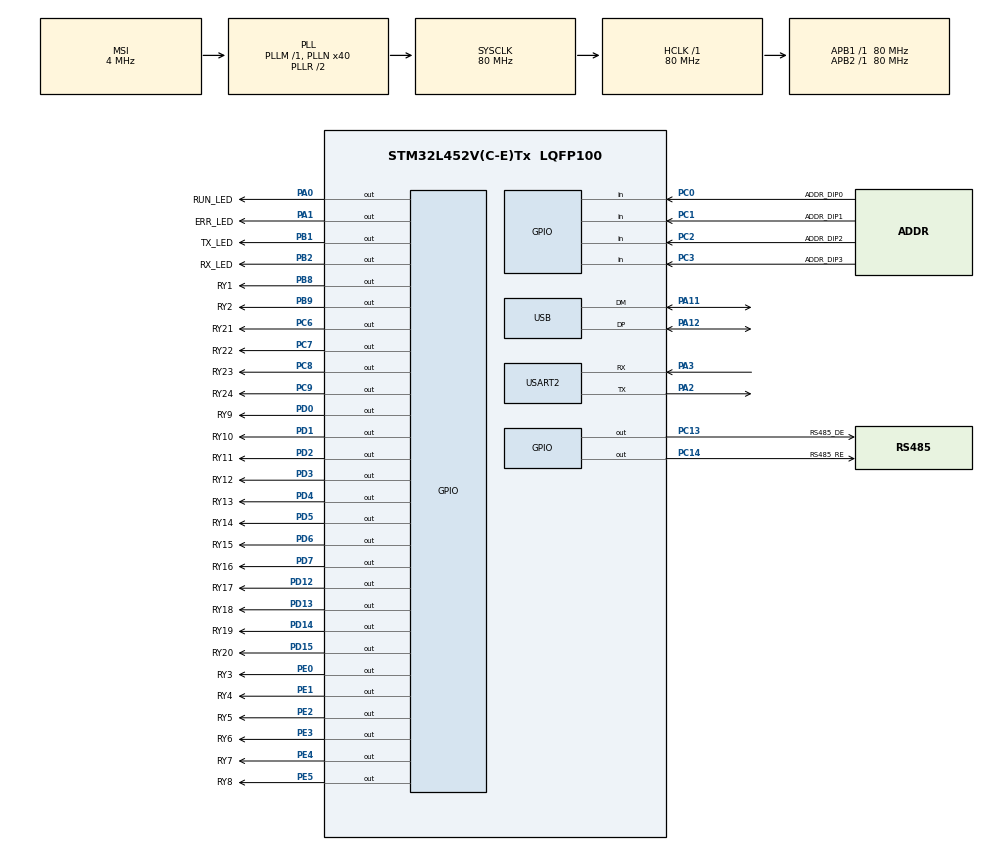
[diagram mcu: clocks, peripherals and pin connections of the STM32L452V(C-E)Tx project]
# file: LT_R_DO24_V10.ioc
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IWDG.Prescaler=IWDG_PRESCALER_32
Mcu.Family=STM32L4
Mcu.Name=STM32L452V(C-E)Tx
Mcu.Package=LQFP100
NVIC.PriorityGroup=NVIC_PRIORITYGROUP_4
NVIC.TIM1_CC_IRQn=true\:0\:0\:false\:false\:true\:true\:true\:true
NVIC.TIM2_IRQn=true\:0\:0\:false\:false\:true\:true\:true\:true
NVIC.TIM3_IRQn=true\:0\:0\:false\:false\:true\:true\:true\:true
NVIC.USART2_IRQn=true\:0\:0\:false\:false\:true\:true\:true\:true
NVIC.USB_IRQn=true\:0\:0\:false\:false\:true\:false\:true\:true
PA0.GPIO_Label=RUN_LED
PA0.Signal=GPIO_Output
PA1.GPIO_Label=ERR_LED
PA1.Signal=GPIO_Output
PA11.Mode=Device
PA11.Signal=USB_DM
PA12.Mode=Device
PA12.Signal=USB_DP
PA13\ (JTMS/SWDIO).Mode=Serial_Wire
PA13\ (JTMS/SWDIO).Signal=SYS_JTMS-SWDIO
PA14\ (JTCK/SWCLK).Mode=Serial_Wire
PA14\ (JTCK/SWCLK).Signal=SYS_JTCK-SWCLK
PA2.Mode=Asynchronous
PA2.Signal=USART2_TX
PA3.Mode=Asynchronous
PA3.Signal=USART2_RX
PB1.GPIO_Label=TX_LED
PB1.Signal=GPIO_Output
PB2.GPIO_Label=RX_LED
PB2.Signal=GPIO_Output
PB8.GPIO_Label=RY1
PB8.Signal=GPIO_Output
PB9.GPIO_Label=RY2
PB9.Signal=GPIO_Output
PC0.GPIO_Label=ADDR_DIP0
PC0.GPIO_PuPd=GPIO_PULLUP
PC0.Signal=GPIO_Input
PC1.GPIO_Label=ADDR_DIP1
PC1.GPIO_PuPd=GPIO_PULLUP
PC1.Signal=GPIO_Input
PC13.GPIO_Label=RS485_DE
PC13.Signal=GPIO_Output
PC14-OSC32_IN\ (PC14).GPIO_Label=RS485_RE
PC14-OSC32_IN\ (PC14).Signal=GPIO_Output
PC2.GPIO_Label=ADDR_DIP2
PC2.GPIO_PuPd=GPIO_PULLUP
PC2.Signal=GPIO_Input
PC3.GPIO_Label=ADDR_DIP3
PC3.GPIO_PuPd=GPIO_PULLUP
PC3.Signal=GPIO_Input
PC6.GPIO_Label=RY21
PC6.Signal=GPIO_Output
PC7.GPIO_Label=RY22
PC7.Signal=GPIO_Output
PC8.GPIO_Label=RY23
PC8.Signal=GPIO_Output
PC9.GPIO_Label=RY24
PC9.Signal=GPIO_Output
PD0.GPIO_Label=RY9
PD0.Signal=GPIO_Output
PD1.GPIO_Label=RY10
PD1.Signal=GPIO_Output
PD12.GPIO_Label=RY17
PD12.Signal=GPIO_Output
PD13.GPIO_Label=RY18
PD13.Signal=GPIO_Output
PD14.GPIO_Label=RY19
PD14.Signal=GPIO_Output
PD15.GPIO_Label=RY20
PD15.Signal=GPIO_Output
PD2.GPIO_Label=RY11
PD2.Signal=GPIO_Output
PD3.GPIO_Label=RY12
PD3.Signal=GPIO_Output
PD4.GPIO_Label=RY13
PD4.Signal=GPIO_Output
PD5.GPIO_Label=RY14
PD5.Signal=GPIO_Output
PD6.GPIO_Label=RY15
PD6.Signal=GPIO_Output
PD7.GPIO_Label=RY16
PD7.Signal=GPIO_Output
PE0.GPIO_Label=RY3
PE0.Signal=GPIO_Output
PE1.GPIO_Label=RY4
PE1.Signal=GPIO_Output
PE2.GPIO_Label=RY5
PE2.Signal=GPIO_Output
PE3.GPIO_Label=RY6
PE3.Signal=GPIO_Output
PE4.GPIO_Label=RY7
PE4.Signal=GPIO_Output
PE5.GPIO_Label=RY8
PE5.Signal=GPIO_Output
ProjectManager.HeapSize=0x200
ProjectManager.StackSize=0x400
ProjectManager.TargetToolchain=STM32CubeIDE
RCC.ADCFreq_Value=48000000
RCC.AHBFreq_Value=80000000
RCC.APB1Freq_Value=80000000
RCC.APB1TimFreq_Value=80000000
RCC.APB2Freq_Value=80000000
RCC.APB2TimFreq_Value=80000000
RCC.CortexFreq_Value=80000000
RCC.HCLKFreq_Value=80000000
RCC.HSE_VALUE=8000000
RCC.HSI48_VALUE=48000000
RCC.HSI_VALUE=16000000
RCC.LSE_VALUE=32768
RCC.MSI_VALUE=4000000
RCC.PLLN=40
RCC.PLLSAI1N=24
RCC.SYSCLKFreq_VALUE=80000000
RCC.SYSCLKSource=RCC_SYSCLKSOURCE_PLLCLK
RCC.USBFreq_Value=48000000
RCC.VCOOutputFreq_Value=160000000
TIM1.Channel-Output\ Compare1\ No\ Output=TIM_CHANNEL_1
TIM1.Period=10000
TIM1.Prescaler=8000
TIM2.Channel-Output\ Compare1\ No\ Output=TIM_CHANNEL_1
TIM2.Period=10000
TIM2.Prescaler=8000
TIM3.Channel-Output\ Compare1\ No\ Output=TIM_CHANNEL_1
TIM3.Period=10000
TIM3.Prescaler=800
USART2.VirtualMode-Asynchronous=VM_ASYNC
USB_DEVICE.CLASS_NAME_FS=CDC
USB_DEVICE.VirtualMode=Cdc
USB_DEVICE.VirtualModeFS=Cdc_FS
VP_IWDG_VS_IWDG.Mode=IWDG_Activate
VP_TIM1_VS_ClockSourceINT.Mode=Internal
VP_TIM1_VS_no_output1.Mode=Output Compare1 No Output
VP_TIM2_VS_ClockSourceINT.Mode=Internal
VP_TIM2_VS_no_output1.Mode=Output Compare1 No Output
VP_TIM3_VS_ClockSourceINT.Mode=Internal
VP_TIM3_VS_no_output1.Mode=Output Compare1 No Output
VP_USB_DEVICE_VS_USB_DEVICE_CDC_FS.Mode=CDC_FS
board=custom

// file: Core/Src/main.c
/* USER CODE BEGIN Header */
/**
  ******************************************************************************
  * @file           : main.c
  * @brief          : Main program body
  ******************************************************************************
  * @attention
  *
  * Copyright (c) 2025 STMicroelectronics.
  * All rights reserved.
  *
  * This software is licensed under terms that can be found in the LICENSE file
  * in the root directory of this software component.
  * If no LICENSE file comes with this software, it is provided AS-IS.
  *
  ******************************************************************************
  */
/* USER CODE END Header */
#include "main.h"
#include "usb_device.h"

/* USER CODE BEGIN Includes */
/* USER CODE BEGIN Includes */
#include "Compile_Data.h"
/* USER CODE END Includes */

IWDG_HandleTypeDef hiwdg;

TIM_HandleTypeDef htim1;
TIM_HandleTypeDef htim2;
TIM_HandleTypeDef htim3;

UART_HandleTypeDef huart2;

/* USER CODE BEGIN PV */

uint8_t Uart_tmp[] = "Test\r\n";

uint8_t Uart_rx2_buf[rx2_buf_len] ;
uint8_t Uart_rx2_buf_tmp[3] ;
int rx2_State ;
int rx2_buf_count;
int rx2_buf_count_tmp;
int rx2_Receive_complete;

uint8_t Uart_tx_buf[tx_buf_len] ;

uint8_t RY_Status[24] ;

uint8_t DO24_Address_tmp[4] ;
uint8_t DO24_Address[1] ;

/* USER CODE END PV */

void SystemClock_Config(void);
static void MX_GPIO_Init(void);
static void MX_TIM1_Init(void);
static void MX_TIM2_Init(void);
static void MX_TIM3_Init(void);
static void MX_USART2_UART_Init(void);
static void MX_IWDG_Init(void);

/* USER CODE BEGIN 0 */

///////////////Start timer interrupt operation function///////////////////

void HAL_TIM_OC_DelayElapsedCallback(TIM_HandleTypeDef *htim)
{
  if(htim->Instance == TIM1){
	  HAL_IWDG_Refresh(&hiwdg);
  }

}
/* USER CODE END 0 */

int main(void)
{

  /* MCU Configuration--------------------------------------------------------*/

  /* Reset of all peripherals, Initializes the Flash interface and the Systick. */
  HAL_Init();

  /* Configure the system clock */
  SystemClock_Config();

  /* Initialize all configured peripherals */
  MX_GPIO_Init();
  MX_TIM1_Init();
  MX_TIM2_Init();
  MX_TIM3_Init();
  MX_USART2_UART_Init();
  MX_USB_DEVICE_Init();
  MX_IWDG_Init();
  /* USER CODE BEGIN 2 */

  /* huart2 RX Interrupt  Enable */
  /* Process Unlocked */
  __HAL_UNLOCK(&huart2);
  /* Enable the UART Parity Error Interrupt */
  __HAL_UART_ENABLE_IT(&huart2, UART_IT_PE);
  /* Enable the UART Error Interrupt: (Frame error, noise error, overrun error) */
  __HAL_UART_ENABLE_IT(&huart2, UART_IT_ERR);
  /* Enable the UART Data Register not empty Interrupt */
  __HAL_UART_ENABLE_IT(&huart2, UART_IT_RXNE);

  HAL_TIM_OC_Start_IT(&htim1,TIM_CHANNEL_1);
  HAL_TIM_OC_Start_IT(&htim2,TIM_CHANNEL_1);
  HAL_TIM_OC_Start_IT(&htim3,TIM_CHANNEL_1);

  DO24_Address_tmp[0] =  ~(HAL_GPIO_ReadPin(ADDR_DIP0_GPIO_Port, ADDR_DIP0_Pin)) & 0x01;
  DO24_Address_tmp[1] =  ~(HAL_GPIO_ReadPin(ADDR_DIP1_GPIO_Port, ADDR_DIP1_Pin)) & 0x01;
  DO24_Address_tmp[2] =  ~(HAL_GPIO_ReadPin(ADDR_DIP2_GPIO_Port, ADDR_DIP2_Pin)) & 0x01;
  DO24_Address_tmp[3] =  ~(HAL_GPIO_ReadPin(ADDR_DIP3_GPIO_Port, ADDR_DIP3_Pin)) & 0x01;

  DO24_Address[0] = (DO24_Address_tmp[3] << 3)|(DO24_Address_tmp[2] << 2)|(DO24_Address_tmp[1] << 1)|(DO24_Address_tmp[0] << 0);

  if(DO24_Address[0] == 0){
    PY1_ON();
    HAL_Delay(100);
    PY2_ON();
    HAL_Delay(100);
    PY3_ON();
    HAL_Delay(100);
    PY4_ON();
    HAL_Delay(100);
    PY5_ON();
    HAL_Delay(100);
    PY6_ON();
    HAL_Delay(100);
    PY7_ON();
    HAL_Delay(100);
    PY8_ON();
    HAL_Delay(100);
    PY9_ON();
    HAL_Delay(100);
    PY10_ON();
    HAL_Delay(100);
    PY11_ON();
    HAL_Delay(100);
    PY12_ON();
    HAL_Delay(100);
    PY13_ON();
    HAL_Delay(100);
    PY14_ON();
    HAL_Delay(100);
    PY15_ON();
    HAL_Delay(100);
    PY16_ON();
    HAL_Delay(100);
    PY17_ON();
    HAL_Delay(100);
    PY18_ON();
    HAL_Delay(100);
    PY19_ON();
    HAL_Delay(100);
    PY20_ON();
    HAL_Delay(100);
    PY21_ON();
    HAL_Delay(100);
    PY22_ON();
    HAL_Delay(100);
    PY23_ON();
    HAL_Delay(100);
    PY24_ON();
    HAL_Delay(100);

    HAL_Delay(1000);
    PY1_OFF();
    HAL_Delay(100);
    PY2_OFF();
    HAL_Delay(100);
    PY3_OFF();
    HAL_Delay(100);
    PY4_OFF();
    HAL_Delay(100);
    PY5_OFF();
    HAL_Delay(100);
    PY6_OFF();
    HAL_Delay(100);
    PY7_OFF();
    HAL_Delay(100);
    PY8_OFF();
    HAL_Delay(100);
    PY9_OFF();
    HAL_Delay(100);
    PY10_OFF();
    HAL_Delay(100);
    PY11_OFF();
    HAL_Delay(100);
    PY12_OFF();
    HAL_Delay(100);
    PY13_OFF();
    HAL_Delay(100);
    PY14_OFF();
    HAL_Delay(100);
    PY15_OFF();
    HAL_Delay(100);
    PY16_OFF();
    HAL_Delay(100);
    PY17_OFF();
    HAL_Delay(100);
    PY18_OFF();
    HAL_Delay(100);
    PY19_OFF();
    HAL_Delay(100);
    PY20_OFF();
    HAL_Delay(100);
    PY21_OFF();
    HAL_Delay(100);
    PY22_OFF();
    HAL_Delay(100);
    PY23_OFF();
    HAL_Delay(100);
    PY24_OFF();
  }

  for(int i=0;i<24;i++){
    RY_Status[i] = 0;
  }

  Compile_Date();

  /* USER CODE END 2 */

  /* Infinite loop */
  while (1)
  {

    /* USER CODE BEGIN 3 */
	  /* Enable the UART Error Interrupt: (Frame error, noise error, overrun error) */
	  __HAL_UART_ENABLE_IT(&huart2, UART_IT_ERR);
	  /* Enable the UART Data Register not empty Interrupt */
	  __HAL_UART_ENABLE_IT(&huart2, UART_IT_RXNE);

	    if(RY_Status[0] == 1){
	      PY1_ON();
	    }
	    else if(RY_Status[0] == 0){
	      PY1_OFF();
	    }

	    if(RY_Status[1] == 1){
	      PY2_ON();
	    }
	    else if(RY_Status[1] == 0){
	      PY2_OFF();
	    }

	    if(RY_Status[2] == 1){
	      PY3_ON();
	    }
	    else if(RY_Status[2] == 0){
	      PY3_OFF();
	    }

	    if(RY_Status[3] == 1){
	      PY4_ON();
	    }
	    else if(RY_Status[3] == 0){
	      PY4_OFF();
	    }

	    if(RY_Status[4] == 1){
	      PY5_ON();
	    }
	    else if(RY_Status[4] == 0){
	      PY5_OFF();
	    }

	    if(RY_Status[5] == 1){
	      PY6_ON();
	    }
	    else if(RY_Status[5] == 0){
	      PY6_OFF();
	    }

	    if(RY_Status[6] == 1){
	      PY7_ON();
	    }
	    else if(RY_Status[6] == 0){
	      PY7_OFF();
	    }

	    if(RY_Status[7] == 1){
	      PY8_ON();
	    }
	    else if(RY_Status[7] == 0){
	      PY8_OFF();
	    }

	    if(RY_Status[8] == 1){
	      PY9_ON();
	    }
	    else if(RY_Status[8] == 0){
	      PY9_OFF();
	    }

	    if(RY_Status[9] == 1){
	      PY10_ON();
	    }
	    else if(RY_Status[9] == 0){
	      PY10_OFF();
	    }

	    if(RY_Status[10] == 1){
	      PY11_ON();
	    }
	    else if(RY_Status[10] == 0){
	      PY11_OFF();
	    }

	    if(RY_Status[11] == 1){
	      PY12_ON();
	    }
	    else if(RY_Status[11] == 0){
	      PY12_OFF();
	    }

	    if(RY_Status[12] == 1){
	      PY13_ON();
	    }
	    else if(RY_Status[12] == 0){
	      PY13_OFF();
	    }

	    if(RY_Status[13] == 1){
	      PY14_ON();
	    }
	    else if(RY_Status[13] == 0){
	      PY14_OFF();
	    }

	    if(RY_Status[14] == 1){
	      PY15_ON();
	    }
	    else if(RY_Status[14] == 0){
	      PY15_OFF();
	    }

	    if(RY_Status[15] == 1){
	      PY16_ON();
	    }
	    else if(RY_Status[15] == 0){
	      PY16_OFF();
	    }

	    if(RY_Status[16] == 1){
	      PY17_ON();
	    }
	    else if(RY_Status[16] == 0){
	      PY17_OFF();
	    }

	    if(RY_Status[17] == 1){
	      PY18_ON();
	    }
	    else if(RY_Status[17] == 0){
	      PY18_OFF();
	    }

	    if(RY_Status[18] == 1){
	      PY19_ON();
	    }
	    else if(RY_Status[18] == 0){
	      PY19_OFF();
	    }

	    if(RY_Status[19] == 1){
	      PY20_ON();
	    }
	    else if(RY_Status[19] == 0){
	      PY20_OFF();
	    }

	     if(RY_Status[20] == 1){
	      PY21_ON();
	    }
	    else if(RY_Status[20] == 0){
	      PY21_OFF();
	    }

	    if(RY_Status[21] == 1){
	      PY22_ON();
	    }
	    else if(RY_Status[21] == 0){
	      PY22_OFF();
	    }

	    if(RY_Status[22] == 1){
	      PY23_ON();
	    }
	    else if(RY_Status[22] == 0){
	      PY23_OFF();
	    }

	    if(RY_Status[23] == 1){
	      PY24_ON();
	    }
	    else if(RY_Status[23] == 0){
	      PY24_OFF();
	    }

	    if(rx2_Receive_complete == 1){
	      SW_Com();
	    }

	  }
  /* USER CODE END 3 */
}

void SystemClock_Config(void)
{
  RCC_OscInitTypeDef RCC_OscInitStruct = {0};
  RCC_ClkInitTypeDef RCC_ClkInitStruct = {0};

  /** Configure the main internal regulator output voltage
  */
  if (HAL_PWREx_ControlVoltageScaling(PWR_REGULATOR_VOLTAGE_SCALE1) != HAL_OK)
  {
    Error_Handler();
  }

  /** Initializes the RCC Oscillators according to the specified parameters
  * in the RCC_OscInitTypeDef structure.
  */
  RCC_OscInitStruct.OscillatorType = RCC_OSCILLATORTYPE_LSI|RCC_OSCILLATORTYPE_MSI;
  RCC_OscInitStruct.LSIState = RCC_LSI_ON;
  RCC_OscInitStruct.MSIState = RCC_MSI_ON;
  RCC_OscInitStruct.MSICalibrationValue = 0;
  RCC_OscInitStruct.MSIClockRange = RCC_MSIRANGE_6;
  RCC_OscInitStruct.PLL.PLLState = RCC_PLL_ON;
  RCC_OscInitStruct.PLL.PLLSource = RCC_PLLSOURCE_MSI;
  RCC_OscInitStruct.PLL.PLLM = 1;
  RCC_OscInitStruct.PLL.PLLN = 40;
  RCC_OscInitStruct.PLL.PLLP = RCC_PLLP_DIV7;
  RCC_OscInitStruct.PLL.PLLQ = RCC_PLLQ_DIV2;
  RCC_OscInitStruct.PLL.PLLR = RCC_PLLR_DIV2;
  if (HAL_RCC_OscConfig(&RCC_OscInitStruct) != HAL_OK)
  {
    Error_Handler();
  }

  /** Initializes the CPU, AHB and APB buses clocks
  */
  RCC_ClkInitStruct.ClockType = RCC_CLOCKTYPE_HCLK|RCC_CLOCKTYPE_SYSCLK
                              |RCC_CLOCKTYPE_PCLK1|RCC_CLOCKTYPE_PCLK2;
  RCC_ClkInitStruct.SYSCLKSource = RCC_SYSCLKSOURCE_PLLCLK;
  RCC_ClkInitStruct.AHBCLKDivider = RCC_SYSCLK_DIV1;
  RCC_ClkInitStruct.APB1CLKDivider = RCC_HCLK_DIV1;
  RCC_ClkInitStruct.APB2CLKDivider = RCC_HCLK_DIV1;

  if (HAL_RCC_ClockConfig(&RCC_ClkInitStruct, FLASH_LATENCY_4) != HAL_OK)
  {
    Error_Handler();
  }
}

static void MX_IWDG_Init(void)
{

  hiwdg.Instance = IWDG;
  hiwdg.Init.Prescaler = IWDG_PRESCALER_32;
  hiwdg.Init.Window = 4095;
  hiwdg.Init.Reload = 4095;
  if (HAL_IWDG_Init(&hiwdg) != HAL_OK)
  {
    Error_Handler();
  }

}

static void MX_TIM1_Init(void)
{

  TIM_ClockConfigTypeDef sClockSourceConfig = {0};
  TIM_MasterConfigTypeDef sMasterConfig = {0};
  TIM_OC_InitTypeDef sConfigOC = {0};
  TIM_BreakDeadTimeConfigTypeDef sBreakDeadTimeConfig = {0};

  htim1.Instance = TIM1;
  htim1.Init.Prescaler = 8000;
  htim1.Init.CounterMode = TIM_COUNTERMODE_UP;
  htim1.Init.Period = 10000;
  htim1.Init.ClockDivision = TIM_CLOCKDIVISION_DIV1;
  htim1.Init.RepetitionCounter = 0;
  htim1.Init.AutoReloadPreload = TIM_AUTORELOAD_PRELOAD_DISABLE;
  if (HAL_TIM_Base_Init(&htim1) != HAL_OK)
  {
    Error_Handler();
  }
  sClockSourceConfig.ClockSource = TIM_CLOCKSOURCE_INTERNAL;
  if (HAL_TIM_ConfigClockSource(&htim1, &sClockSourceConfig) != HAL_OK)
  {
    Error_Handler();
  }
  if (HAL_TIM_OC_Init(&htim1) != HAL_OK)
  {
    Error_Handler();
  }
  sMasterConfig.MasterOutputTrigger = TIM_TRGO_RESET;
  sMasterConfig.MasterOutputTrigger2 = TIM_TRGO2_RESET;
  sMasterConfig.MasterSlaveMode = TIM_MASTERSLAVEMODE_DISABLE;
  if (HAL_TIMEx_MasterConfigSynchronization(&htim1, &sMasterConfig) != HAL_OK)
  {
    Error_Handler();
  }
  sConfigOC.OCMode = TIM_OCMODE_TIMING;
  sConfigOC.Pulse = 0;
  sConfigOC.OCPolarity = TIM_OCPOLARITY_HIGH;
  sConfigOC.OCNPolarity = TIM_OCNPOLARITY_HIGH;
  sConfigOC.OCFastMode = TIM_OCFAST_DISABLE;
  sConfigOC.OCIdleState = TIM_OCIDLESTATE_RESET;
  sConfigOC.OCNIdleState = TIM_OCNIDLESTATE_RESET;
  if (HAL_TIM_OC_ConfigChannel(&htim1, &sConfigOC, TIM_CHANNEL_1) != HAL_OK)
  {
    Error_Handler();
  }
  sBreakDeadTimeConfig.OffStateRunMode = TIM_OSSR_DISABLE;
  sBreakDeadTimeConfig.OffStateIDLEMode = TIM_OSSI_DISABLE;
  sBreakDeadTimeConfig.LockLevel = TIM_LOCKLEVEL_OFF;
  sBreakDeadTimeConfig.DeadTime = 0;
  sBreakDeadTimeConfig.BreakState = TIM_BREAK_DISABLE;
  sBreakDeadTimeConfig.BreakPolarity = TIM_BREAKPOLARITY_HIGH;
  sBreakDeadTimeConfig.BreakFilter = 0;
  sBreakDeadTimeConfig.Break2State = TIM_BREAK2_DISABLE;
  sBreakDeadTimeConfig.Break2Polarity = TIM_BREAK2POLARITY_HIGH;
  sBreakDeadTimeConfig.Break2Filter = 0;
  sBreakDeadTimeConfig.AutomaticOutput = TIM_AUTOMATICOUTPUT_DISABLE;
  if (HAL_TIMEx_ConfigBreakDeadTime(&htim1, &sBreakDeadTimeConfig) != HAL_OK)
  {
    Error_Handler();
  }

}

static void MX_TIM2_Init(void)
{

  TIM_ClockConfigTypeDef sClockSourceConfig = {0};
  TIM_MasterConfigTypeDef sMasterConfig = {0};
  TIM_OC_InitTypeDef sConfigOC = {0};

  htim2.Instance = TIM2;
  htim2.Init.Prescaler = 8000;
  htim2.Init.CounterMode = TIM_COUNTERMODE_UP;
  htim2.Init.Period = 10000;
  htim2.Init.ClockDivision = TIM_CLOCKDIVISION_DIV1;
  htim2.Init.AutoReloadPreload = TIM_AUTORELOAD_PRELOAD_DISABLE;
  if (HAL_TIM_Base_Init(&htim2) != HAL_OK)
  {
    Error_Handler();
  }
  sClockSourceConfig.ClockSource = TIM_CLOCKSOURCE_INTERNAL;
  if (HAL_TIM_ConfigClockSource(&htim2, &sClockSourceConfig) != HAL_OK)
  {
    Error_Handler();
  }
  if (HAL_TIM_OC_Init(&htim2) != HAL_OK)
  {
    Error_Handler();
  }
  sMasterConfig.MasterOutputTrigger = TIM_TRGO_RESET;
  sMasterConfig.MasterSlaveMode = TIM_MASTERSLAVEMODE_DISABLE;
  if (HAL_TIMEx_MasterConfigSynchronization(&htim2, &sMasterConfig) != HAL_OK)
  {
    Error_Handler();
  }
  sConfigOC.OCMode = TIM_OCMODE_TIMING;
  sConfigOC.Pulse = 0;
  sConfigOC.OCPolarity = TIM_OCPOLARITY_HIGH;
  sConfigOC.OCFastMode = TIM_OCFAST_DISABLE;
  if (HAL_TIM_OC_ConfigChannel(&htim2, &sConfigOC, TIM_CHANNEL_1) != HAL_OK)
  {
    Error_Handler();
  }

}

static void MX_TIM3_Init(void)
{

  TIM_ClockConfigTypeDef sClockSourceConfig = {0};
  TIM_MasterConfigTypeDef sMasterConfig = {0};
  TIM_OC_InitTypeDef sConfigOC = {0};

  htim3.Instance = TIM3;
  htim3.Init.Prescaler = 800;
  htim3.Init.CounterMode = TIM_COUNTERMODE_UP;
  htim3.Init.Period = 10000;
  htim3.Init.ClockDivision = TIM_CLOCKDIVISION_DIV1;
  htim3.Init.AutoReloadPreload = TIM_AUTORELOAD_PRELOAD_DISABLE;
  if (HAL_TIM_Base_Init(&htim3) != HAL_OK)
  {
    Error_Handler();
  }
  sClockSourceConfig.ClockSource = TIM_CLOCKSOURCE_INTERNAL;
  if (HAL_TIM_ConfigClockSource(&htim3, &sClockSourceConfig) != HAL_OK)
  {
    Error_Handler();
  }
  if (HAL_TIM_OC_Init(&htim3) != HAL_OK)
  {
    Error_Handler();
  }
  sMasterConfig.MasterOutputTrigger = TIM_TRGO_RESET;
  sMasterConfig.MasterSlaveMode = TIM_MASTERSLAVEMODE_DISABLE;
  if (HAL_TIMEx_MasterConfigSynchronization(&htim3, &sMasterConfig) != HAL_OK)
  {
    Error_Handler();
  }
  sConfigOC.OCMode = TIM_OCMODE_TIMING;
  sConfigOC.Pulse = 0;
  sConfigOC.OCPolarity = TIM_OCPOLARITY_HIGH;
  sConfigOC.OCFastMode = TIM_OCFAST_DISABLE;
  if (HAL_TIM_OC_ConfigChannel(&htim3, &sConfigOC, TIM_CHANNEL_1) != HAL_OK)
  {
    Error_Handler();
  }

}

static void MX_USART2_UART_Init(void)
{

  huart2.Instance = USART2;
  huart2.Init.BaudRate = 115200;
  huart2.Init.WordLength = UART_WORDLENGTH_8B;
  huart2.Init.StopBits = UART_STOPBITS_1;
  huart2.Init.Parity = UART_PARITY_NONE;
  huart2.Init.Mode = UART_MODE_TX_RX;
  huart2.Init.HwFlowCtl = UART_HWCONTROL_NONE;
  huart2.Init.OverSampling = UART_OVERSAMPLING_16;
  huart2.Init.OneBitSampling = UART_ONE_BIT_SAMPLE_DISABLE;
  huart2.AdvancedInit.AdvFeatureInit = UART_ADVFEATURE_NO_INIT;
  if (HAL_UART_Init(&huart2) != HAL_OK)
  {
    Error_Handler();
  }

}

static void MX_GPIO_Init(void)
{
  GPIO_InitTypeDef GPIO_InitStruct = {0};

  /* GPIO Ports Clock Enable */
  __HAL_RCC_GPIOE_CLK_ENABLE();
  __HAL_RCC_GPIOC_CLK_ENABLE();
  __HAL_RCC_GPIOA_CLK_ENABLE();
  __HAL_RCC_GPIOB_CLK_ENABLE();
  __HAL_RCC_GPIOD_CLK_ENABLE();

  /*Configure GPIO pin Output Level */
  HAL_GPIO_WritePin(GPIOE, RY5_Pin|RY6_Pin|RY7_Pin|RY8_Pin
                          |RY3_Pin|RY4_Pin, GPIO_PIN_RESET);

  /*Configure GPIO pin Output Level */
  HAL_GPIO_WritePin(GPIOC, RS485_DE_Pin|RS485_RE_Pin|RY21_Pin|RY22_Pin
                          |RY23_Pin|RY24_Pin, GPIO_PIN_RESET);

  /*Configure GPIO pin Output Level */
  HAL_GPIO_WritePin(GPIOA, RUN_LED_Pin|ERR_LED_Pin, GPIO_PIN_RESET);

  /*Configure GPIO pin Output Level */
  HAL_GPIO_WritePin(GPIOB, TX_LED_Pin|RX_LED_Pin|RY1_Pin|RY2_Pin, GPIO_PIN_RESET);

  /*Configure GPIO pin Output Level */
  HAL_GPIO_WritePin(GPIOD, RY17_Pin|RY18_Pin|RY19_Pin|RY20_Pin
                          |RY9_Pin|RY10_Pin|RY11_Pin|RY12_Pin
                          |RY13_Pin|RY14_Pin|RY15_Pin|RY16_Pin, GPIO_PIN_RESET);

  /*Configure GPIO pins : RY5_Pin RY6_Pin RY7_Pin RY8_Pin
                           RY3_Pin RY4_Pin */
  GPIO_InitStruct.Pin = RY5_Pin|RY6_Pin|RY7_Pin|RY8_Pin
                          |RY3_Pin|RY4_Pin;
  GPIO_InitStruct.Mode = GPIO_MODE_OUTPUT_PP;
  GPIO_InitStruct.Pull = GPIO_NOPULL;
  GPIO_InitStruct.Speed = GPIO_SPEED_FREQ_LOW;
  HAL_GPIO_Init(GPIOE, &GPIO_InitStruct);

  /*Configure GPIO pins : RS485_DE_Pin RS485_RE_Pin RY21_Pin RY22_Pin
                           RY23_Pin RY24_Pin */
  GPIO_InitStruct.Pin = RS485_DE_Pin|RS485_RE_Pin|RY21_Pin|RY22_Pin
                          |RY23_Pin|RY24_Pin;
  GPIO_InitStruct.Mode = GPIO_MODE_OUTPUT_PP;
  GPIO_InitStruct.Pull = GPIO_NOPULL;
  GPIO_InitStruct.Speed = GPIO_SPEED_FREQ_LOW;
  HAL_GPIO_Init(GPIOC, &GPIO_InitStruct);

  /*Configure GPIO pins : ADDR_DIP0_Pin ADDR_DIP1_Pin ADDR_DIP2_Pin ADDR_DIP3_Pin */
  GPIO_InitStruct.Pin = ADDR_DIP0_Pin|ADDR_DIP1_Pin|ADDR_DIP2_Pin|ADDR_DIP3_Pin;
  GPIO_InitStruct.Mode = GPIO_MODE_INPUT;
  GPIO_InitStruct.Pull = GPIO_PULLUP;
  HAL_GPIO_Init(GPIOC, &GPIO_InitStruct);

  /*Configure GPIO pins : RUN_LED_Pin ERR_LED_Pin */
  GPIO_InitStruct.Pin = RUN_LED_Pin|ERR_LED_Pin;
  GPIO_InitStruct.Mode = GPIO_MODE_OUTPUT_PP;
  GPIO_InitStruct.Pull = GPIO_NOPULL;
  GPIO_InitStruct.Speed = GPIO_SPEED_FREQ_LOW;
  HAL_GPIO_Init(GPIOA, &GPIO_InitStruct);

  /*Configure GPIO pins : TX_LED_Pin RX_LED_Pin RY1_Pin RY2_Pin */
  GPIO_InitStruct.Pin = TX_LED_Pin|RX_LED_Pin|RY1_Pin|RY2_Pin;
  GPIO_InitStruct.Mode = GPIO_MODE_OUTPUT_PP;
  GPIO_InitStruct.Pull = GPIO_NOPULL;
  GPIO_InitStruct.Speed = GPIO_SPEED_FREQ_LOW;
  HAL_GPIO_Init(GPIOB, &GPIO_InitStruct);

  /*Configure GPIO pins : RY17_Pin RY18_Pin RY19_Pin RY20_Pin
                           RY9_Pin RY10_Pin RY11_Pin RY12_Pin
                           RY13_Pin RY14_Pin RY15_Pin RY16_Pin */
  GPIO_InitStruct.Pin = RY17_Pin|RY18_Pin|RY19_Pin|RY20_Pin
                          |RY9_Pin|RY10_Pin|RY11_Pin|RY12_Pin
                          |RY13_Pin|RY14_Pin|RY15_Pin|RY16_Pin;
  GPIO_InitStruct.Mode = GPIO_MODE_OUTPUT_PP;
  GPIO_InitStruct.Pull = GPIO_NOPULL;
  GPIO_InitStruct.Speed = GPIO_SPEED_FREQ_LOW;
  HAL_GPIO_Init(GPIOD, &GPIO_InitStruct);

}

/* USER CODE BEGIN 4 */

int Uart2_crc = 0;
int Uart_crc = 0;

void SW_Com(void){

  // CRC 체크

  int i;

  // 전송할 중계기 정보를 확인한다.

  Uart2_crc = 0;

  for(i = 0; i <rx2_buf_count_tmp - 5 ; i++){
    Uart2_crc = Uart2_crc ^ Uart_rx2_buf[i+2];
  }

  if(Uart2_crc == Uart_rx2_buf[rx2_buf_count_tmp - 3]){
    //0x51 , 'Q' ,중계기 정보 요청 (UI에서 설정한 값만)

    if(Uart_rx2_buf[4] == 0x44){        // DO24 board: '0x44'
      if(Uart_rx2_buf[5] == DO24_Address[0]){      // Address 01
        if(Uart_rx2_buf[3] == 0x51){

          Uart_tx_buf[0] = 0x53;    //S
          Uart_tx_buf[1] = 0x54;    //T
          Uart_tx_buf[2] = 0x44;    //D
          Uart_tx_buf[3] = 0x52;    //R
          Uart_tx_buf[4] = DO24_Address[0];    //address
          Uart_tx_buf[5] = 0x0A;    //version 10 -> 1.0
          Uart_tx_buf[6] = 0x00;    //Relay 정보 1 ~8
          Uart_tx_buf[7] = 0x00;    //Relay 정보 9 ~16
          Uart_tx_buf[8] = 0x00;    //Relay 정보 17 ~24
          Uart_tx_buf[9] = 0x00;   //dummy1
          Uart_tx_buf[10] = 0x00;   //dummy2
          Uart_tx_buf[11] = 0x00;   //CRC
          Uart_tx_buf[12] = 0x45;   //E
          Uart_tx_buf[13] = 0x44;   //D

          Uart_crc = 0;

          for(i=0 ; i<8 ; i++){
            Uart_tx_buf[6] = 0;
            Uart_tx_buf[6] = (RY_Status[0] << 7) | (RY_Status[1] << 6) | (RY_Status[2] << 5) | (RY_Status[3] << 4) |
                             (RY_Status[4] << 3) | (RY_Status[5] << 2) | (RY_Status[6] << 1) | (RY_Status[7] << 0);
            Uart_tx_buf[7] = 0;
            Uart_tx_buf[7] = (RY_Status[0+8] << 7) | (RY_Status[1+8] << 6) | (RY_Status[2+8] << 5) | (RY_Status[3+8] << 4) |
                             (RY_Status[4+8] << 3) | (RY_Status[5+8] << 2) | (RY_Status[6+8] << 1) | (RY_Status[7+8] << 0);
            Uart_tx_buf[8] = 0;
            Uart_tx_buf[8] = (RY_Status[0+8+8] << 7) | (RY_Status[1+8+8] << 6) | (RY_Status[2+8+8] << 5) | (RY_Status[3+8+8] << 4) |
                             (RY_Status[4+8+8] << 3) | (RY_Status[5+8+8] << 2) | (RY_Status[6+8+8] << 1) | (RY_Status[7+8+8] << 0);

          }
          for(i = 0; i <tx_buf_len - 5 ; i++){
            Uart_crc = Uart_crc ^ Uart_tx_buf[i+2];
          }
          Uart_tx_buf[11] = Uart_crc;

          HAL_GPIO_WritePin(TX_LED_GPIO_Port, TX_LED_Pin, GPIO_PIN_SET);
          HAL_GPIO_WritePin(RS485_DE_GPIO_Port , RS485_DE_Pin , GPIO_PIN_SET);
          HAL_GPIO_WritePin(RS485_RE_GPIO_Port , RS485_RE_Pin , GPIO_PIN_SET);

          HAL_Delay(1);

          if(HAL_UART_Transmit(&huart2, Uart_tx_buf, sizeof(Uart_tx_buf), 1000)!= HAL_OK)
              {
                Error_Handler();
              }

          HAL_Delay(1);

          HAL_GPIO_WritePin(TX_LED_GPIO_Port, TX_LED_Pin, GPIO_PIN_RESET);
          HAL_GPIO_WritePin(RS485_DE_GPIO_Port , RS485_DE_Pin , GPIO_PIN_RESET);
          HAL_GPIO_WritePin(RS485_RE_GPIO_Port , RS485_RE_Pin , GPIO_PIN_RESET);

        }
        else if(Uart_rx2_buf[3] == 0x53){
          for(i=0;i<8;i++){
            RY_Status[i] = (Uart_rx2_buf[6] >> (7 - i)) & 0x01;
            RY_Status[i+8] = (Uart_rx2_buf[7] >> (7 - i)) & 0x01;
            RY_Status[i+8+8] = (Uart_rx2_buf[8] >> (7 - i)) & 0x01;
          }
        }
        else if(Uart_rx2_buf[3] == 0x56){
        	SUB_Com_SW_V();
        }

      }
    }
  }

  rx2_Receive_complete = 0;

}

void PY1_ON(void){
	HAL_GPIO_WritePin(RY1_GPIO_Port,RY1_Pin,GPIO_PIN_SET);
}
void PY1_OFF(void){
	HAL_GPIO_WritePin(RY1_GPIO_Port,RY1_Pin,GPIO_PIN_RESET);
}
void PY2_ON(void){
	HAL_GPIO_WritePin(RY2_GPIO_Port,RY2_Pin,GPIO_PIN_SET);
}
void PY2_OFF(void){
	HAL_GPIO_WritePin(RY2_GPIO_Port,RY2_Pin,GPIO_PIN_RESET);
}
void PY3_ON(void){
	HAL_GPIO_WritePin(RY3_GPIO_Port,RY3_Pin,GPIO_PIN_SET);
}
void PY3_OFF(void){
	HAL_GPIO_WritePin(RY3_GPIO_Port,RY3_Pin,GPIO_PIN_RESET);
}
void PY4_ON(void){
	HAL_GPIO_WritePin(RY4_GPIO_Port,RY4_Pin,GPIO_PIN_SET);
}
void PY4_OFF(void){
	HAL_GPIO_WritePin(RY4_GPIO_Port,RY4_Pin,GPIO_PIN_RESET);
}
void PY5_ON(void){
	HAL_GPIO_WritePin(RY5_GPIO_Port,RY5_Pin,GPIO_PIN_SET);
}
void PY5_OFF(void){
	HAL_GPIO_WritePin(RY5_GPIO_Port,RY5_Pin,GPIO_PIN_RESET);
}
void PY6_ON(void){
	HAL_GPIO_WritePin(RY6_GPIO_Port,RY6_Pin,GPIO_PIN_SET);
}
void PY6_OFF(void){
	HAL_GPIO_WritePin(RY6_GPIO_Port,RY6_Pin,GPIO_PIN_RESET);
}void PY7_ON(void){
	HAL_GPIO_WritePin(RY7_GPIO_Port,RY7_Pin,GPIO_PIN_SET);
}
void PY7_OFF(void){
	HAL_GPIO_WritePin(RY7_GPIO_Port,RY7_Pin,GPIO_PIN_RESET);
}
void PY8_ON(void){
	HAL_GPIO_WritePin(RY8_GPIO_Port,RY8_Pin,GPIO_PIN_SET);
}
void PY8_OFF(void){
	HAL_GPIO_WritePin(RY8_GPIO_Port,RY8_Pin,GPIO_PIN_RESET);
}
void PY9_ON(void){
	HAL_GPIO_WritePin(RY9_GPIO_Port,RY9_Pin,GPIO_PIN_SET);
}
void PY9_OFF(void){
	HAL_GPIO_WritePin(RY9_GPIO_Port,RY9_Pin,GPIO_PIN_RESET);
}
void PY10_ON(void){
	HAL_GPIO_WritePin(RY10_GPIO_Port,RY10_Pin,GPIO_PIN_SET);
}
void PY10_OFF(void){
	HAL_GPIO_WritePin(RY10_GPIO_Port,RY10_Pin,GPIO_PIN_RESET);
}
void PY11_ON(void){
	HAL_GPIO_WritePin(RY11_GPIO_Port,RY11_Pin,GPIO_PIN_SET);
}
void PY11_OFF(void){
	HAL_GPIO_WritePin(RY11_GPIO_Port,RY11_Pin,GPIO_PIN_RESET);
}
void PY12_ON(void){
	HAL_GPIO_WritePin(RY12_GPIO_Port,RY12_Pin,GPIO_PIN_SET);
}
void PY12_OFF(void){
	HAL_GPIO_WritePin(RY12_GPIO_Port,RY12_Pin,GPIO_PIN_RESET);
}
void PY13_ON(void){
	HAL_GPIO_WritePin(RY13_GPIO_Port,RY13_Pin,GPIO_PIN_SET);
}
void PY13_OFF(void){
	HAL_GPIO_WritePin(RY13_GPIO_Port,RY13_Pin,GPIO_PIN_RESET);
}
void PY14_ON(void){
	HAL_GPIO_WritePin(RY14_GPIO_Port,RY14_Pin,GPIO_PIN_SET);
}
void PY14_OFF(void){
	HAL_GPIO_WritePin(RY14_GPIO_Port,RY14_Pin,GPIO_PIN_RESET);
}
void PY15_ON(void){
	HAL_GPIO_WritePin(RY15_GPIO_Port,RY15_Pin,GPIO_PIN_SET);
}
void PY15_OFF(void){
	HAL_GPIO_WritePin(RY15_GPIO_Port,RY15_Pin,GPIO_PIN_RESET);
}
void PY16_ON(void){
	HAL_GPIO_WritePin(RY16_GPIO_Port,RY16_Pin,GPIO_PIN_SET);
}
void PY16_OFF(void){
	HAL_GPIO_WritePin(RY16_GPIO_Port,RY16_Pin,GPIO_PIN_RESET);
}
void PY17_ON(void){
	HAL_GPIO_WritePin(RY17_GPIO_Port,RY17_Pin,GPIO_PIN_SET);
}
void PY17_OFF(void){
	HAL_GPIO_WritePin(RY17_GPIO_Port,RY17_Pin,GPIO_PIN_RESET);
}
void PY18_ON(void){
	HAL_GPIO_WritePin(RY18_GPIO_Port,RY18_Pin,GPIO_PIN_SET);
}
void PY18_OFF(void){
	HAL_GPIO_WritePin(RY18_GPIO_Port,RY18_Pin,GPIO_PIN_RESET);
}
void PY19_ON(void){
	HAL_GPIO_WritePin(RY19_GPIO_Port,RY19_Pin,GPIO_PIN_SET);
}
void PY19_OFF(void){
	HAL_GPIO_WritePin(RY19_GPIO_Port,RY19_Pin,GPIO_PIN_RESET);
}
void PY20_ON(void){
	HAL_GPIO_WritePin(RY20_GPIO_Port,RY20_Pin,GPIO_PIN_SET);
}
void PY20_OFF(void){
	HAL_GPIO_WritePin(RY20_GPIO_Port,RY20_Pin,GPIO_PIN_RESET);
}
void PY21_ON(void){
	HAL_GPIO_WritePin(RY21_GPIO_Port,RY21_Pin,GPIO_PIN_SET);
}
void PY21_OFF(void){
	HAL_GPIO_WritePin(RY21_GPIO_Port,RY21_Pin,GPIO_PIN_RESET);
}
void PY22_ON(void){
	HAL_GPIO_WritePin(RY22_GPIO_Port,RY22_Pin,GPIO_PIN_SET);
}
void PY22_OFF(void){
	HAL_GPIO_WritePin(RY22_GPIO_Port,RY22_Pin,GPIO_PIN_RESET);
}
void PY23_ON(void){
	HAL_GPIO_WritePin(RY23_GPIO_Port,RY23_Pin,GPIO_PIN_SET);
}
void PY23_OFF(void){
	HAL_GPIO_WritePin(RY23_GPIO_Port,RY23_Pin,GPIO_PIN_RESET);
}
void PY24_ON(void){
	HAL_GPIO_WritePin(RY24_GPIO_Port,RY24_Pin,GPIO_PIN_SET);
}
void PY24_OFF(void){
	HAL_GPIO_WritePin(RY24_GPIO_Port,RY24_Pin,GPIO_PIN_RESET);
}

#define Sub_Do_length      15

void SUB_Com_SW_V(void){

	uint8_t Uart_crc;

    Uart_tx_buf[0] = 0x53;    //S
    Uart_tx_buf[1] = 0x54;    //T
    Uart_tx_buf[2] = 0x53;    //S
    Uart_tx_buf[3] = 0x76;    //v
    Uart_tx_buf[4] = 0x44;    //DO
    Uart_tx_buf[5] = DO24_Address[0];    //address
    Uart_tx_buf[6] = F_Version_Year;
    Uart_tx_buf[7] = F_Version_Month;
    Uart_tx_buf[8] = F_Version_Day;
    Uart_tx_buf[9] = F_Version_Hour;
    Uart_tx_buf[10] = F_Version_Min;
    Uart_tx_buf[11] = F_Version_Sec;
    Uart_tx_buf[12] = 0x00;   //CRC
    Uart_tx_buf[13] = 0x45;   //E
    Uart_tx_buf[14] = 0x44;   //D

    for(int i = 0; i <Sub_Do_length - 5 ; i++){
      Uart_crc = Uart_crc ^ Uart_tx_buf[i+2];
    }
    Uart_tx_buf[Sub_Do_length-3] = Uart_crc;

    HAL_GPIO_WritePin(RS485_DE_GPIO_Port , RS485_DE_Pin , GPIO_PIN_SET);
    HAL_GPIO_WritePin(RS485_RE_GPIO_Port , RS485_RE_Pin , GPIO_PIN_SET);

    HAL_Delay(1);
    if(HAL_UART_Transmit(&huart2, Uart_tx_buf, Sub_Do_length, 1000)!= HAL_OK)
        {
          Error_Handler();
        }

    HAL_Delay(1);

    HAL_GPIO_WritePin(RS485_DE_GPIO_Port , RS485_DE_Pin , GPIO_PIN_RESET);
    HAL_GPIO_WritePin(RS485_RE_GPIO_Port , RS485_RE_Pin , GPIO_PIN_RESET);

}

/* USER CODE END 4 */

void Error_Handler(void)
{
  __disable_irq();
  while (1)
  {
  }
}
